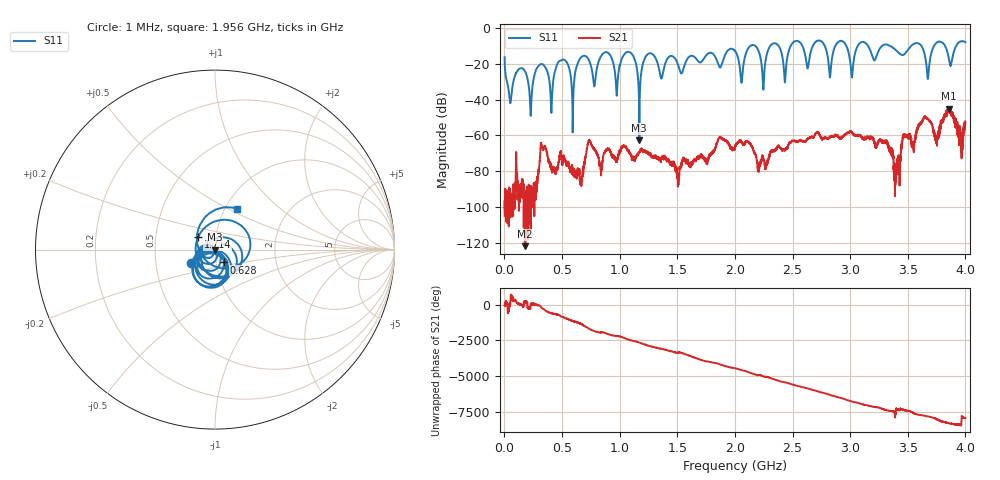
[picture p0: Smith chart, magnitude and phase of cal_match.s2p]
!Created with skrf (http://scikit-rf.org).
# GHz S RI R 50.0
!freq ReS11 ImS11 ReS21 ImS21 ReS12 ImS12 ReS22 ImS22
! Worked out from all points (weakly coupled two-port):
!   4000 points, 1 MHz to 4 GHz, reference 50 ohm
!   highest |S21| = -45.10 dB at 3.859 GHz (marker M1); lowest = -121.9 dB at 180 MHz (marker M2)
!   lowest |S11| = -62.8 dB at 1.17 GHz (marker M3), VSWR 1.00, Z = 49.9 - j0.0113 ohm
!   |S11| at or under -10 dB: start of sweep to 2.135 GHz; 2.176 GHz to 2.307 GHz (131.4 MHz wide, 5.86 % of centre); 3.344 GHz to 3.531 GHz (186.9 MHz wide, 5.44 % of centre) (the widest 3 of 10)
!   S12 and S22 are empty: the file has one direction only
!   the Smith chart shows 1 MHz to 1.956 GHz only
!   S11 on the Smith chart (normalised r, x): 1 MHz: 0.76, -0.12; 628 MHz: 1.09, -0.16; 1.714 GHz: 0.82, +0.11; 1.956 GHz: 1.13, +0.55
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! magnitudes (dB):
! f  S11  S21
! 1 MHz  -16.4  -105.0
! 49 MHz  -41.6  -100.2
! 180 MHz  -24.5  -121.9
! 228 MHz  -49.1  -94.0
! 334 MHz  -20.4  -68.2
! 406 MHz  -47.3  -76.8
! 628 MHz  -21.2  -81.9
! 668 MHz  -16.2  -87.7
! 738 MHz  -18.8  -62.6
! 974 MHz  -37.8  -74.4
! 1.087 GHz  -13.6  -70.2
! 1.17 GHz  -62.8  -69.6
! 1.24 GHz  -14.8  -69.8
! 1.334 GHz  -20.9  -72.3
! 1.714 GHz  -18.7  -71.7
! 1.956 GHz  -11.8  -66.3
! 2.001 GHz  -12.7  -65.8
! 2.667 GHz  -11.5  -60.9
! 3.334 GHz  -9.7  -65.5
! 3.397 GHz  -12.4  -78.0
! 3.859 GHz  -18.1  -45.1
! 4 GHz  -8.0  -53.3
